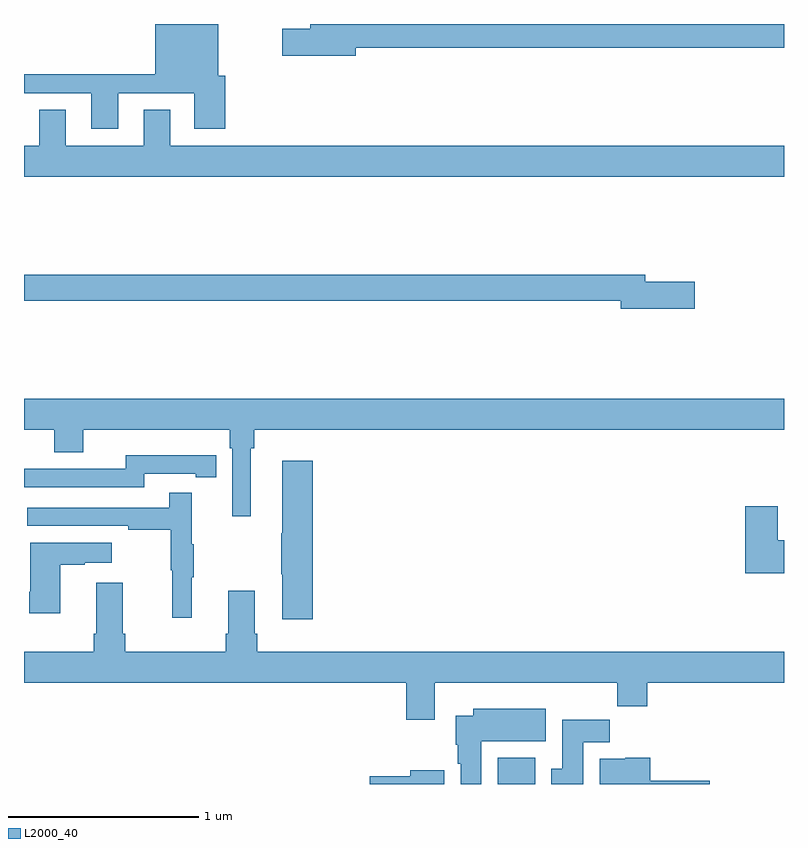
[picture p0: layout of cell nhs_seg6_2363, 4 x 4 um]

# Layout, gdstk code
import gdstk
lib = gdstk.Library(unit=1e-6, precision=1e-09)
def R(c, l, rs):  # rectangles x0, y0, x1, y1
    for r in rs: c.add(gdstk.rectangle(r[:2], r[2:], *l))
def P(c, l, *ps):  # polygons
    for p in ps: c.add(gdstk.Polygon(p, *l))
L2000_40 = (2000, 40)

nhs_seg6_2363 = lib.new_cell('nhs_seg6_2363')
R(nhs_seg6_2363, L2000_40, [(255.494,917.5,255.691,917.638)])
P(nhs_seg6_2363, L2000_40, [(253.495,921.135),(253.895,921.135),(253.895,920.949),(254.06,920.949),(254.06,921.228),(254.023,921.228),(254.023,921.5),(253.691,921.5),(253.691,921.236),(253,921.236),(253,921.135),(253.355,921.135),(253.355,920.949),(253.495,920.949)],
  [(254.746,921.376),(257,921.376),(257,921.5),(254.507,921.5),(254.507,921.476),(254.358,921.476),(254.358,921.334),(254.746,921.334)],
  [(257,920.86),(253.771,920.86),(253.771,921.05),(253.631,921.05),(253.631,920.86),(253.219,920.86),(253.219,921.05),(253.079,921.05),(253.079,920.86),(253,920.86),(253,920.696),(257,920.696)],
  [(256.531,920.144),(256.27,920.144),(256.27,920.18),(253,920.18),(253,920.044),(256.142,920.044),(256.142,920.002),(256.531,920.002)],
  [(254.194,919.268),(254.213,919.268),(254.213,919.364),(257,919.364),(257,919.528),(253,919.528),(253,919.364),(253.16,919.364),(253.16,919.247),(253.312,919.247),(253.312,919.364),(254.084,919.364),(254.084,919.268),(254.097,919.268),(254.097,918.909),(254.194,918.909)],
  [(253.632,919.134),(253.904,919.134),(253.904,919.114),(254.012,919.114),(254.012,919.23),(253.904,919.23),(253.904,919.231),(253.536,919.231),(253.536,919.158),(253.076,919.158),(253.076,919.16),(253,919.16),(253,919.062),(253.632,919.062)],
  [(254.519,919.201),(254.36,919.201),(254.36,918.821),(254.353,918.821),(254.353,918.604),(254.36,918.604),(254.36,918.366),(254.519,918.366)],
  [(253.883,918.587),(253.894,918.587),(253.894,918.761),(253.883,918.761),(253.883,919.033),(253.765,919.033),(253.765,918.954),(253.017,918.954),(253.017,918.858),(253.549,918.858),(253.549,918.838),(253.773,918.838),(253.773,918.624),(253.78,918.624),(253.78,918.375),(253.883,918.375)],
  [(257,918.784),(256.966,918.784),(256.966,918.961),(256.796,918.961),(256.796,918.608),(257,918.608)],
  [(253.192,918.655),(253.319,918.655),(253.319,918.665),(253.462,918.665),(253.462,918.769),(253.034,918.769),(253.034,918.511),(253.027,918.511),(253.027,918.399),(253.192,918.399)],
  [(255.163,918.032),(256.123,918.032),(256.123,917.908),(256.279,917.908),(256.279,918.032),(257,918.032),(257,918.196),(254.228,918.196),(254.228,918.292),(254.215,918.292),(254.215,918.517),(254.075,918.517),(254.075,918.292),(254.063,918.292),(254.063,918.196),(253.532,918.196),(253.532,918.292),(253.519,918.292),(253.519,918.559),(253.379,918.559),(253.379,918.292),(253.367,918.292),(253.367,918.196),(253,918.196),(253,918.032),(255.011,918.032),(255.011,917.838),(255.163,917.838)],
  [(255.406,917.726),(255.745,917.726),(255.745,917.896),(255.365,917.896),(255.365,917.86),(255.272,917.86),(255.272,917.706),(255.284,917.706),(255.284,917.606),(255.299,917.606),(255.299,917.5),(255.406,917.5)],
  [(255.943,917.72),(256.082,917.72),(256.082,917.838),(255.833,917.838),(255.833,917.58),(255.776,917.58),(255.776,917.5),(255.943,917.5)],
  [(256.61,917.516),(256.295,917.516),(256.295,917.638),(256.164,917.638),(256.164,917.632),(256.031,917.632),(256.031,917.5),(256.61,917.5)],
  [(255.211,917.572),(255.032,917.572),(255.032,917.54),(254.82,917.54),(254.82,917.5),(255.211,917.5)])

lib.write_gds('nhs_seg6_2363.gds')
